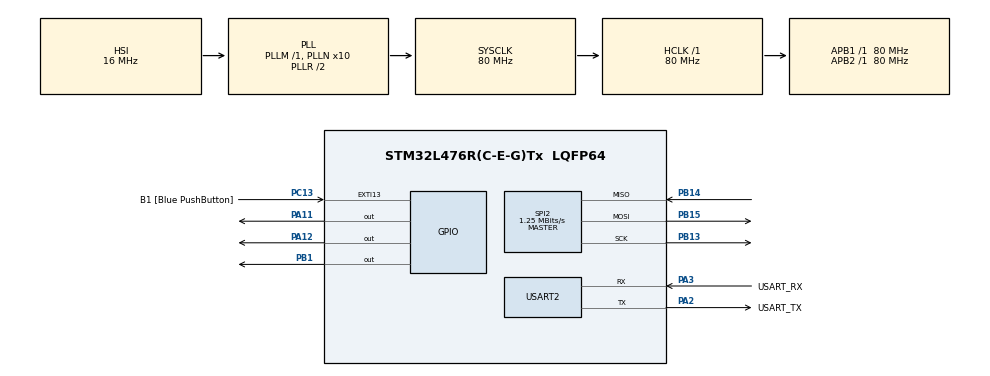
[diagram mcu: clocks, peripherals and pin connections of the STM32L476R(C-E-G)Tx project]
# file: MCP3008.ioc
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Mcu.Family=STM32L4
Mcu.Name=STM32L476R(C-E-G)Tx
Mcu.Package=LQFP64
NVIC.PriorityGroup=NVIC_PRIORITYGROUP_4
PA11.Signal=GPIO_Output
PA12.Signal=GPIO_Output
PA13\ (JTMS-SWDIO).GPIO_Label=TMS
PA13\ (JTMS-SWDIO).Mode=Serial_Wire
PA13\ (JTMS-SWDIO).Signal=SYS_JTMS-SWDIO
PA14\ (JTCK-SWCLK).GPIO_Label=TCK
PA14\ (JTCK-SWCLK).Mode=Serial_Wire
PA14\ (JTCK-SWCLK).Signal=SYS_JTCK-SWCLK
PA2.GPIO_Label=USART_TX
PA2.GPIO_Mode=GPIO_MODE_AF_PP
PA2.GPIO_PuPd=GPIO_NOPULL
PA2.GPIO_Speed=GPIO_SPEED_FREQ_VERY_HIGH
PA2.Mode=Asynchronous
PA2.Signal=USART2_TX
PA3.GPIO_Label=USART_RX
PA3.GPIO_Mode=GPIO_MODE_AF_PP
PA3.GPIO_PuPd=GPIO_NOPULL
PA3.GPIO_Speed=GPIO_SPEED_FREQ_VERY_HIGH
PA3.Mode=Asynchronous
PA3.Signal=USART2_RX
PB1.Signal=GPIO_Output
PB13.Mode=Full_Duplex_Master
PB13.Signal=SPI2_SCK
PB14.Mode=Full_Duplex_Master
PB14.Signal=SPI2_MISO
PB15.Mode=Full_Duplex_Master
PB15.Signal=SPI2_MOSI
PB3\ (JTDO-TRACESWO).GPIO_Label=SWO
PB3\ (JTDO-TRACESWO).Signal=SYS_JTDO-SWO
PC13.GPIO_Label=B1 [Blue PushButton]
PC13.GPIO_ModeDefaultEXTI=GPIO_MODE_IT_FALLING
PC13.GPIO_PuPd=GPIO_NOPULL
PC13.Signal=GPXTI13
PC14-OSC32_IN\ (PC14).Mode=LSE-External-Oscillator
PC14-OSC32_IN\ (PC14).Signal=RCC_OSC32_IN
PC15-OSC32_OUT\ (PC15).Mode=LSE-External-Oscillator
PC15-OSC32_OUT\ (PC15).Signal=RCC_OSC32_OUT
PH0-OSC_IN\ (PH0).Signal=RCC_OSC_IN
PH1-OSC_OUT\ (PH1).Signal=RCC_OSC_OUT
RCC.ADCFreq_Value=64000000
RCC.AHBFreq_Value=80000000
RCC.APB1Freq_Value=80000000
RCC.APB1TimFreq_Value=80000000
RCC.APB2Freq_Value=80000000
RCC.APB2TimFreq_Value=80000000
RCC.CortexFreq_Value=80000000
RCC.HCLKFreq_Value=80000000
RCC.HSE_VALUE=8000000
RCC.HSI_VALUE=16000000
RCC.MSI_VALUE=4000000
RCC.PLLN=10
RCC.PLLSourceVirtual=RCC_PLLSOURCE_HSI
RCC.PREFETCH_ENABLE=1
RCC.SYSCLKFreq_VALUE=80000000
RCC.SYSCLKSource=RCC_SYSCLKSOURCE_PLLCLK
RCC.USBFreq_Value=64000000
RCC.VCOOutputFreq_Value=160000000
SPI2.BaudRatePrescaler=SPI_BAUDRATEPRESCALER_64
SPI2.CalculateBaudRate=1.25 MBits/s
SPI2.DataSize=SPI_DATASIZE_8BIT
SPI2.Direction=SPI_DIRECTION_2LINES
SPI2.Mode=SPI_MODE_MASTER
SPI2.NSSPMode=SPI_NSS_PULSE_DISABLE
SPI2.VirtualType=VM_MASTER
USART2.VirtualMode-Asynchronous=VM_ASYNC
board=NUCLEO-L476RG

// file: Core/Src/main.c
/* USER CODE BEGIN Header */
/**
  ******************************************************************************
  * @file           : main.c
  * @brief          : Main program body
  ******************************************************************************
  */
/* USER CODE END Header */
#include "main.h"

/* USER CODE BEGIN Includes */
#include <string.h>
#include <stdio.h>
/* USER CODE END Includes */

/* USER CODE BEGIN PD */
#define MCP3008_CS_PORT GPIOA
#define MCP3008_CS1_PIN GPIO_PIN_11  // CS for MCP3008 #1
#define MCP3008_CS2_PIN GPIO_PIN_12  // CS for MCP3008 #2
/* USER CODE END PD */

SPI_HandleTypeDef hspi2;

UART_HandleTypeDef huart2;

/* USER CODE BEGIN PV */
uint8_t txData[3]; // SPI transmit buffer
uint8_t rxData[3]; // SPI receive buffer
uint8_t uartRxBuffer[10]; // UART receive buffer
/* USER CODE END PV */

void SystemClock_Config(void);
static void MX_GPIO_Init(void);
static void MX_USART2_UART_Init(void);
static void MX_SPI2_Init(void);
/* USER CODE BEGIN PFP */
int _write(int file, char *data, int len); // Redirect printf
/* USER CODE END PFP */

/* USER CODE BEGIN 0 */

void SPI_ClockTest(void) {
    uint8_t dummyTxData = 0xFF;
    uint8_t dummyRxData = 0x00;

    HAL_GPIO_WritePin(MCP3008_CS_PORT, MCP3008_CS1_PIN, GPIO_PIN_RESET); // Assert CS

    for (int i = 0; i < 10; i++) { // Loop to generate multiple clock pulses
        HAL_SPI_TransmitReceive(&hspi2, &dummyTxData, &dummyRxData, 1, HAL_MAX_DELAY);
    }

    HAL_GPIO_WritePin(MCP3008_CS_PORT, MCP3008_CS1_PIN, GPIO_PIN_SET); // Deassert CS
}

void SPI_TransmitReceive(uint8_t chip, uint8_t channel) {
    // 准备 MCP3008 的命令
    txData[0] = 0x01; // 起始�?
    txData[1] = (0x80 | (channel << 4)); // �?�端模�?，动�?设置 channel
    txData[2] = 0x00; // 空字节

    // 根�?�指定的 chip 选择 CS
    if (chip == 1) {
        HAL_GPIO_WritePin(MCP3008_CS_PORT, MCP3008_CS1_PIN, GPIO_PIN_RESET);
        HAL_GPIO_WritePin(MCP3008_CS_PORT, MCP3008_CS2_PIN, GPIO_PIN_SET);
    } else {
        HAL_GPIO_WritePin(MCP3008_CS_PORT, MCP3008_CS1_PIN, GPIO_PIN_SET);
        HAL_GPIO_WritePin(MCP3008_CS_PORT, MCP3008_CS2_PIN, GPIO_PIN_RESET);
    }

    // SPI �?��?和接收
    HAL_Delay(1); // 短暂延迟
    HAL_SPI_TransmitReceive(&hspi2, txData, rxData, 3, HAL_MAX_DELAY);
    HAL_Delay(1); // 短暂延迟

    // �?�消选中所有 CS
    //HAL_GPIO_WritePin(MCP3008_CS_PORT, MCP3008_CS1_PIN | MCP3008_CS2_PIN, GPIO_PIN_RESET);

    // 处�?�接收到的数�?�
    uint16_t result = ((rxData[1] & 0x03) << 8) | rxData[2];
    printf("Chip %d, Channel %d, Result: %u\n", chip, channel, result);
}

void UART_ReceiveCommand() {
    if (HAL_UART_Receive(&huart2, uartRxBuffer, sizeof(uartRxBuffer), 1000) == HAL_OK) {
        printf("Received: %s\r\n", uartRxBuffer);
    }
}
/* USER CODE END 0 */

int main(void)
{

  /* MCU Configuration--------------------------------------------------------*/

  /* Reset of all peripherals, Initializes the Flash interface and the Systick. */
  HAL_Init();

  /* Configure the system clock */
  SystemClock_Config();

  /* Initialize all configured peripherals */
  MX_GPIO_Init();
  MX_USART2_UART_Init();
  MX_SPI2_Init();
  /* USER CODE BEGIN 2 */
  HAL_UART_Transmit(&huart2, (uint8_t *)"System Initialized.\n", 11, HAL_MAX_DELAY);
  //printf("System Initialized.\n");
  /* USER CODE END 2 */

  /* Infinite loop */
  while (1)
  {
	 //SPI_TransmitReceive(1, 0);
	 //UART_ReceiveCommand();

	  HAL_UART_Transmit(&huart2, (uint8_t *)"Run.\n", 11, HAL_MAX_DELAY);
	  HAL_SPI_Transmit(&hspi2, (uint8_t *)128, 1, 100);

	 HAL_Delay(1000);
  }
}

void SystemClock_Config(void)
{
  RCC_OscInitTypeDef RCC_OscInitStruct = {0};
  RCC_ClkInitTypeDef RCC_ClkInitStruct = {0};

  /** Configure the main internal regulator output voltage
  */
  if (HAL_PWREx_ControlVoltageScaling(PWR_REGULATOR_VOLTAGE_SCALE1) != HAL_OK)
  {
    Error_Handler();
  }

  /** Initializes the RCC Oscillators according to the specified parameters
  * in the RCC_OscInitTypeDef structure.
  */
  RCC_OscInitStruct.OscillatorType = RCC_OSCILLATORTYPE_HSI;
  RCC_OscInitStruct.HSIState = RCC_HSI_ON;
  RCC_OscInitStruct.HSICalibrationValue = RCC_HSICALIBRATION_DEFAULT;
  RCC_OscInitStruct.PLL.PLLState = RCC_PLL_ON;
  RCC_OscInitStruct.PLL.PLLSource = RCC_PLLSOURCE_HSI;
  RCC_OscInitStruct.PLL.PLLM = 1;
  RCC_OscInitStruct.PLL.PLLN = 10;
  RCC_OscInitStruct.PLL.PLLP = RCC_PLLP_DIV7;
  RCC_OscInitStruct.PLL.PLLQ = RCC_PLLQ_DIV2;
  RCC_OscInitStruct.PLL.PLLR = RCC_PLLR_DIV2;
  if (HAL_RCC_OscConfig(&RCC_OscInitStruct) != HAL_OK)
  {
    Error_Handler();
  }

  /** Initializes the CPU, AHB and APB buses clocks
  */
  RCC_ClkInitStruct.ClockType = RCC_CLOCKTYPE_HCLK|RCC_CLOCKTYPE_SYSCLK
                              |RCC_CLOCKTYPE_PCLK1|RCC_CLOCKTYPE_PCLK2;
  RCC_ClkInitStruct.SYSCLKSource = RCC_SYSCLKSOURCE_PLLCLK;
  RCC_ClkInitStruct.AHBCLKDivider = RCC_SYSCLK_DIV1;
  RCC_ClkInitStruct.APB1CLKDivider = RCC_HCLK_DIV1;
  RCC_ClkInitStruct.APB2CLKDivider = RCC_HCLK_DIV1;

  if (HAL_RCC_ClockConfig(&RCC_ClkInitStruct, FLASH_LATENCY_4) != HAL_OK)
  {
    Error_Handler();
  }
}

static void MX_SPI2_Init(void)
{

  /* SPI2 parameter configuration*/
  hspi2.Instance = SPI2;
  hspi2.Init.Mode = SPI_MODE_MASTER;
  hspi2.Init.Direction = SPI_DIRECTION_2LINES;
  hspi2.Init.DataSize = SPI_DATASIZE_8BIT;
  hspi2.Init.CLKPolarity = SPI_POLARITY_LOW;
  hspi2.Init.CLKPhase = SPI_PHASE_1EDGE;
  hspi2.Init.NSS = SPI_NSS_SOFT;
  hspi2.Init.BaudRatePrescaler = SPI_BAUDRATEPRESCALER_64;
  hspi2.Init.FirstBit = SPI_FIRSTBIT_MSB;
  hspi2.Init.TIMode = SPI_TIMODE_DISABLE;
  hspi2.Init.CRCCalculation = SPI_CRCCALCULATION_DISABLE;
  hspi2.Init.CRCPolynomial = 7;
  hspi2.Init.CRCLength = SPI_CRC_LENGTH_DATASIZE;
  hspi2.Init.NSSPMode = SPI_NSS_PULSE_DISABLE;
  if (HAL_SPI_Init(&hspi2) != HAL_OK)
  {
    Error_Handler();
  }

}

static void MX_USART2_UART_Init(void)
{

  huart2.Instance = USART2;
  huart2.Init.BaudRate = 115200;
  huart2.Init.WordLength = UART_WORDLENGTH_8B;
  huart2.Init.StopBits = UART_STOPBITS_1;
  huart2.Init.Parity = UART_PARITY_NONE;
  huart2.Init.Mode = UART_MODE_TX_RX;
  huart2.Init.HwFlowCtl = UART_HWCONTROL_NONE;
  huart2.Init.OverSampling = UART_OVERSAMPLING_16;
  huart2.Init.OneBitSampling = UART_ONE_BIT_SAMPLE_DISABLE;
  huart2.AdvancedInit.AdvFeatureInit = UART_ADVFEATURE_NO_INIT;
  if (HAL_UART_Init(&huart2) != HAL_OK)
  {
    Error_Handler();
  }

}

static void MX_GPIO_Init(void)
{
  GPIO_InitTypeDef GPIO_InitStruct = {0};

  /* GPIO Ports Clock Enable */
  __HAL_RCC_GPIOC_CLK_ENABLE();
  __HAL_RCC_GPIOH_CLK_ENABLE();
  __HAL_RCC_GPIOA_CLK_ENABLE();
  __HAL_RCC_GPIOB_CLK_ENABLE();

  /*Configure GPIO pin Output Level */
  HAL_GPIO_WritePin(GPIOB, GPIO_PIN_1, GPIO_PIN_RESET);

  /*Configure GPIO pin Output Level */
  HAL_GPIO_WritePin(GPIOA, GPIO_PIN_11|GPIO_PIN_12, GPIO_PIN_RESET);

  /*Configure GPIO pin : B1_Pin */
  GPIO_InitStruct.Pin = B1_Pin;
  GPIO_InitStruct.Mode = GPIO_MODE_IT_FALLING;
  GPIO_InitStruct.Pull = GPIO_NOPULL;
  HAL_GPIO_Init(B1_GPIO_Port, &GPIO_InitStruct);

  /*Configure GPIO pin : PB1 */
  GPIO_InitStruct.Pin = GPIO_PIN_1;
  GPIO_InitStruct.Mode = GPIO_MODE_OUTPUT_PP;
  GPIO_InitStruct.Pull = GPIO_NOPULL;
  GPIO_InitStruct.Speed = GPIO_SPEED_FREQ_LOW;
  HAL_GPIO_Init(GPIOB, &GPIO_InitStruct);

  /*Configure GPIO pin : PB15 */
  GPIO_InitStruct.Pin = GPIO_PIN_15;
  GPIO_InitStruct.Mode = GPIO_MODE_INPUT;
  GPIO_InitStruct.Pull = GPIO_NOPULL;
  HAL_GPIO_Init(GPIOB, &GPIO_InitStruct);

  /*Configure GPIO pins : PA11 PA12 */
  GPIO_InitStruct.Pin = GPIO_PIN_11|GPIO_PIN_12;
  GPIO_InitStruct.Mode = GPIO_MODE_OUTPUT_PP;
  GPIO_InitStruct.Pull = GPIO_NOPULL;
  GPIO_InitStruct.Speed = GPIO_SPEED_FREQ_LOW;
  HAL_GPIO_Init(GPIOA, &GPIO_InitStruct);

}

void Error_Handler(void)
{
  __disable_irq();
  while (1)
  {
  }
}
